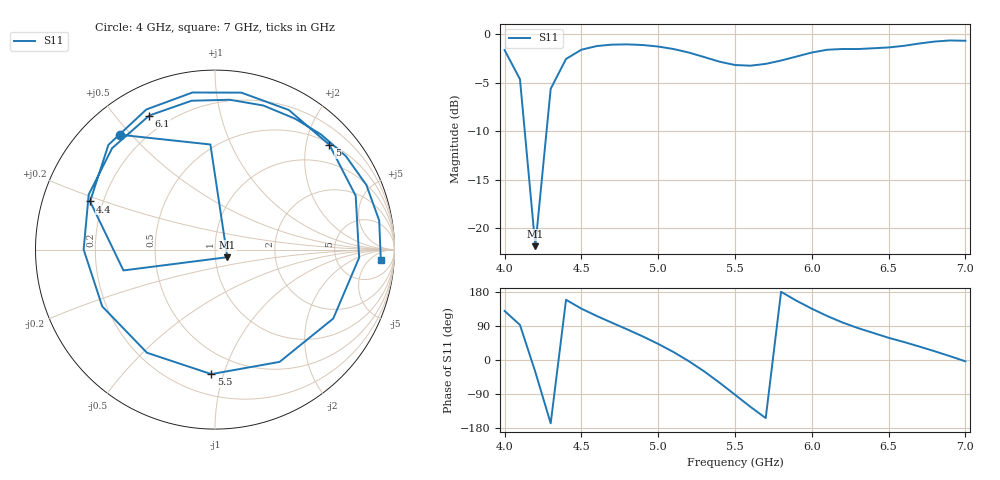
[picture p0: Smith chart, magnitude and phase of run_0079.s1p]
! Touchstone file exported from HFSS 2024.2.0
!  File:  C:/Users/wsak9/Desktop/Sim Fast/Widenad Patch/WP_AI_V1_sweep.aedt
!  Generated:  06:14:34 PM Oct 13, 2026
!  Design:  A1_model
!  Project:  WP_AI_V1_sweep
!  Setup:  Setup1
!  Solution:  Sweep
! Variables:
!  Air_gap = 1.83mm
!  Curve_Amp1 = 2.41
!  Curve_len1 = 1
!  Curve_pos = 13.15mm
!  Extra = 2.03mm
!  H_sub = 0.79mm
!  L_Patch = 22.3mm
!  L_Patch1 = 16.18mm
!  Sx = 2.53mm
!  Sy = 1.96mm
!  WS = 0.81mm
!  W_Patch = 14.55mm
!  W_Patch1 = 14.15mm
!Data is not renormalized
# GHz S MA
! Terminal data exported
! Port[1] = 1
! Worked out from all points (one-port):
!   31 points, 4 GHz to 7 GHz, reference per port
!   lowest |S11| = -21.9 dB at 4.2 GHz (marker M1), VSWR 1.18
!   |S11| at or under -10 dB: 4.131 GHz to 4.273 GHz (141.9 MHz wide, 3.38 % of centre)
!   S11 on the Smith chart (normalised r, x): 4 GHz: 0.11, +0.47; 4.4 GHz: 0.15, +0.18; 5 GHz: 0.54, +2.47; 5.5 GHz: 0.34, -0.91; 6.1 GHz: 0.13, +0.62; 7 GHz: 16, -13
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4  0.8286 129.5
4.1  0.5863 92.5
4.2  0.08073 -31.6
4.3  0.5232 -167.2
4.4  0.7459 158.9
4.5  0.8326 135.5
4.6  0.8694 116.1
4.7  0.8843 98.2
4.8  0.8867 80.4
4.9  0.8799 62.1
5  0.8643 42.5
5.1  0.8392 20.9
5.2  0.8044 -3.2
5.3  0.7626 -30.3
5.4  0.7217 -60.1
5.5  0.6941 -91.7
5.6  0.6885 -123.4
5.7  0.7035 -153.3
5.8  0.7319 180.0
5.9  0.7676 156.4
6  0.8049 135.4
6.1  0.8319 116.1
6.2  0.8396 98.9
6.3  0.839 84.3
6.5  0.8549 58.6
6.7  0.8961 35.5
6.9  0.929 10.1
7  0.9255 -3.5
